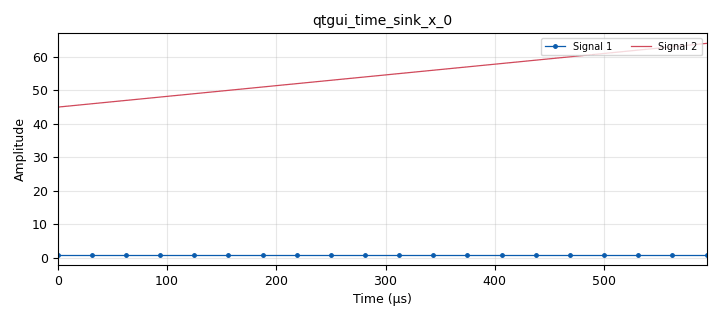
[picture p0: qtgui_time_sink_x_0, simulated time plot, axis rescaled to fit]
options:
  parameters:
    generate_options: qt_gui
    id: Implementacion_Bloque_Acumulador
    output_language: python
    title: Not titled yet
  states: {}

blocks:
- name: samp_rate
  id: variable
  parameters:
    value: '32000'
  states: {}
- name: blocks_vector_source_x_0
  id: blocks_vector_source_x
  parameters:
    repeat: 'False'
    type: float
    vector: (1, 1, 1, 1, 1, 1, 1, 1, 1, 1, 1, 1, 1, 1, 1, 1, 1, 1, 1, 1, 1, 1, 1, 1, 1, 1, 1, 1, 1, 1, 1, 1, 1, 1, 1, 1, 1, 1, 1, 1, 1, 1, 1, 1, 1, 1, 1, 1, 1, 1, 1, 1, 1, 1, 1, 1, 1, 1, 1, 1, 1, 1, 1, 1)
  states: {}
- name: epy_block_0
  id: epy_block
  parameters:
    _source_code: |-
      import numpy as np
      from gnuradio import gr

      class blk(gr.sync_block):

          def __init__(self):
              gr.sync_block.__init__(
                  self,
                  name='e_Acum',
                  in_sig=[np.float32],
                  out_sig=[np.float32]
              )

          def work(self, input_items, output_items):
              x = input_items[0]
              y0 = output_items[0]

              y0[:] = np.cumsum(x)

              return len(y0)
  states: {}
- name: qtgui_time_sink_x_0
  id: qtgui_time_sink_x
  parameters:
    grid: 'True'
    marker1: '0'
    nconnections: '2'
    size: '20'
    srate: samp_rate
    type: float
  states: {}

connections:
- [blocks_vector_source_x_0, '0', epy_block_0, '0']
- [blocks_vector_source_x_0, '0', qtgui_time_sink_x_0, '0']
- [epy_block_0, '0', qtgui_time_sink_x_0, '1']

metadata:
  file_format: 1
  grc_version: 3.10.12.0
